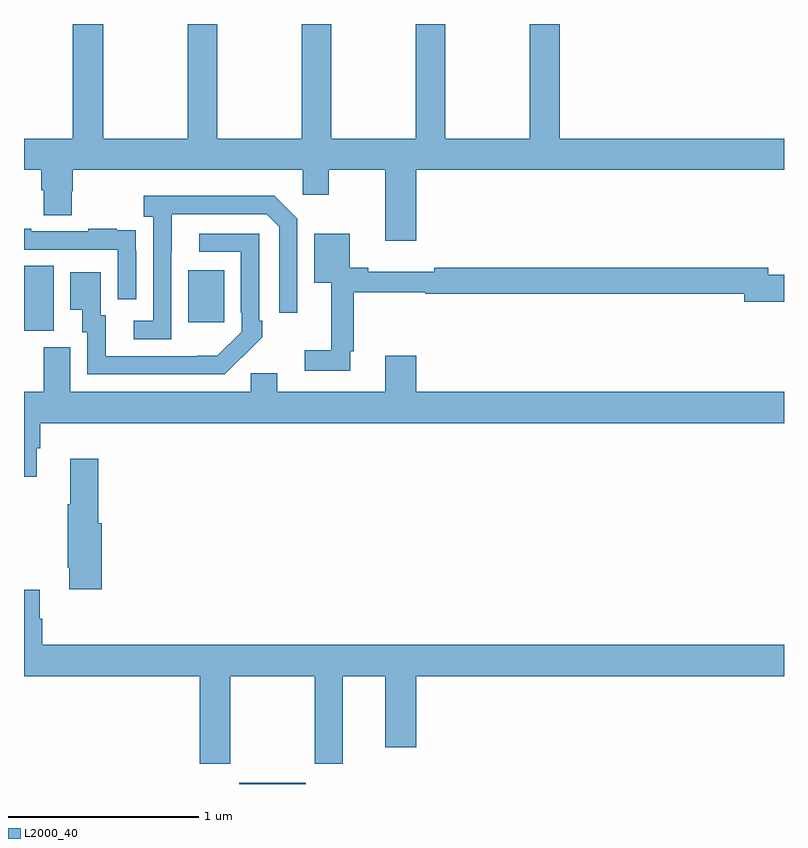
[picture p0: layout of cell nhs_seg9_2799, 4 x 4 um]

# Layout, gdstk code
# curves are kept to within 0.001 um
import gdstk
lib = gdstk.Library(unit=1e-6, precision=1e-09)
def R(c, l, rs):  # rectangles x0, y0, x1, y1
    for r in rs: c.add(gdstk.rectangle(r[:2], r[2:], *l))
def P(c, l, *ps):  # polygons
    for p in ps: c.add(gdstk.Polygon(p, *l))
L2000_40 = (2000, 40)

nhs_seg9_2799 = lib.new_cell('nhs_seg9_2799')
R(nhs_seg9_2799, L2000_40, [(272.132,1214.5,272.482,1214.506), (271,1216.885,271.156,1217.228), (271.865,1216.929,272.053,1217.203)])
P(nhs_seg9_2799, L2000_40, [(273.064,1217.732),(275,1217.732),(275,1217.896),(273.821,1217.896),(273.821,1218.5),(273.661,1218.5),(273.661,1217.896),(273.216,1217.896),(273.216,1218.5),(273.061,1218.5),(273.061,1217.896),(272.616,1217.896),(272.616,1218.5),(272.461,1218.5),(272.461,1217.896),(272.016,1217.896),(272.016,1218.5),(271.861,1218.5),(271.861,1217.896),(271.416,1217.896),(271.416,1218.5),(271.256,1218.5),(271.256,1217.896),(271,1217.896),(271,1217.732),(271.091,1217.732),(271.091,1217.626),(271.103,1217.626),(271.103,1217.494),(271.251,1217.494),(271.251,1217.619),(271.256,1217.619),(271.256,1217.732),(272.466,1217.732),(272.466,1217.601),(272.605,1217.601),(272.605,1217.732),(272.9,1217.732),(272.9,1217.358),(273.064,1217.358)],
  [(271.776,1217.299),(271.777,1217.499),(272.277,1217.499),(272.343,1217.433),(272.343,1216.98),(272.439,1216.98),(272.439,1217.475),(272.318,1217.596),(271.629,1217.596),(271.629,1217.486),(271.68,1217.486),(271.68,1216.938),(271.578,1216.938),(271.578,1216.842),(271.776,1216.842)],
  [(271.59,1217.306),(271.589,1217.306),(271.589,1217.415),(271.487,1217.415),(271.487,1217.422),(271.339,1217.422),(271.339,1217.409),(271.039,1217.409),(271.039,1217.422),(271,1217.422),(271,1217.313),(271.494,1217.313),(271.494,1217.052),(271.59,1217.052)],
  [(272.147,1216.747),(272.148,1216.746),(272.253,1216.851),(272.253,1216.939),(272.238,1216.939),(272.238,1217.397),(271.923,1217.397),(271.923,1217.301),(272.142,1217.301),(272.142,1216.981),(272.145,1216.981),(272.145,1216.881),(272.017,1216.753),(271.429,1216.752),(271.429,1216.968),(271.405,1216.968),(271.405,1217.194),(271.244,1217.194),(271.244,1216.997),(271.307,1216.997),(271.307,1216.878),(271.332,1216.878),(271.332,1216.656),(272.056,1216.656)],
  [(272.717,1216.777),(272.735,1216.777),(272.735,1217.088),(273.112,1217.088),(273.112,1217.08),(274.79,1217.08),(274.79,1217.038),(275,1217.038),(275,1217.18),(274.918,1217.18),(274.918,1217.216),(273.16,1217.216),(273.16,1217.197),(272.812,1217.197),(272.812,1217.216),(272.715,1217.216),(272.715,1217.395),(272.528,1217.395),(272.528,1217.138),(272.618,1217.138),(272.618,1216.783),(272.478,1216.783),(272.478,1216.674),(272.717,1216.674)],
  [(271.066,1216.266),(271.085,1216.266),(271.085,1216.4),(275,1216.4),(275,1216.564),(273.064,1216.564),(273.064,1216.753),(272.9,1216.753),(272.9,1216.564),(272.332,1216.564),(272.332,1216.662),(272.193,1216.662),(272.193,1216.564),(271.243,1216.564),(271.243,1216.8),(271.103,1216.8),(271.103,1216.564),(271,1216.564),(271,1216.116),(271.066,1216.116)],
  [(271.409,1215.873),(271.391,1215.873),(271.391,1216.213),(271.244,1216.213),(271.244,1215.973),(271.231,1215.973),(271.231,1215.637),(271.238,1215.637),(271.238,1215.525),(271.409,1215.525)],
  [(272.085,1215.068),(272.53,1215.068),(272.53,1214.607),(272.677,1214.607),(272.677,1215.068),(272.9,1215.068),(272.9,1214.694),(273.064,1214.694),(273.064,1215.068),(275,1215.068),(275,1215.232),(271.097,1215.232),(271.097,1215.369),(271.084,1215.369),(271.084,1215.523),(271,1215.523),(271,1215.068),(271.925,1215.068),(271.925,1214.607),(272.085,1214.607)])

lib.write_gds('nhs_seg9_2799.gds')
